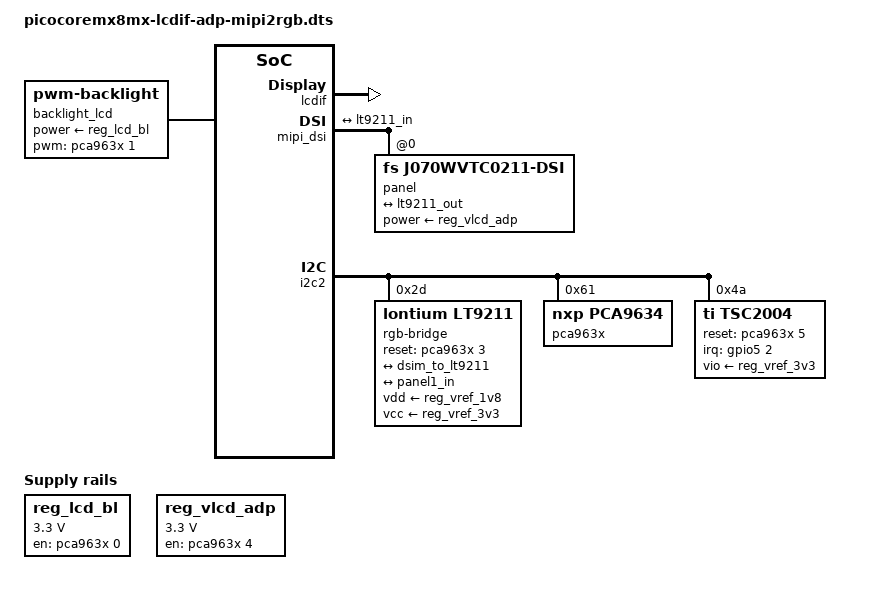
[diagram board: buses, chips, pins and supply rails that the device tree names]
/*
 * Copyright (C) 2021 F&S Elektronik Systeme GmbH
 *
 * This program is free software; you can redistribute it and/or modify
 * it under the terms of the GNU General Public License version 2 as
 * published by the Free Software Foundation.
 */

#define CONFIG_PICOCOREMX8MX_MIPI_DSI

#include "picocoremx8mx.dts"

/ {
	regulators {
		reg_lcd_bl: backlight_lcd {
			compatible = "regulator-fixed";
			regulator-name = "lcd-bl";
			gpio = <&pca963x 0 0>;
			regulator-min-microvolt = <3300000>;
			regulator-max-microvolt = <3300000>;
			enable-active-high;
		};

		/* LCD power on voltage */
		reg_vlcd_adp: vlcd_adp {
			compatible = "regulator-fixed";
			regulator-name = "VLCD-ADP";
			gpio = <&pca963x 4 0>;
			regulator-min-microvolt = <3300000>;
			regulator-max-microvolt = <3300000>;
			enable-active-high;
		};
	};

	backlight_lcd {
		compatible = "pwm-backlight";
		pwms = <&pca963x 1 640000 0>;
		power-supply = <&reg_lcd_bl>;
		brightness-levels = <0 1 5 10 18 28 41 56
				     73 92 113 137 163 192 222 255>;
		default-brightness-level = <14>;
	};
};

&lcdif {
	status = "okay";
	/* important to overwrite max-res otherwise DRM lcdif will fail to find a suitable connector */
	max-res = <4096>, <4096>;
};

&mipi_dsi {
	status = "okay";
	pref-rate = <27000>;
	clocks = <&clk IMX8MM_CLK_DSI_CORE>,
			 <&clk IMX8MM_CLK_DSI_PHY_REF>;
	clock-names = "cfg", "pll-ref";
	assigned-clocks = <&clk IMX8MM_CLK_DSI_CORE>,
				  <&clk IMX8MM_CLK_DSI_PHY_REF>;
	assigned-clock-parents = <&clk IMX8MM_SYS_PLL1_266M>,
					 <&clk IMX8MM_VIDEO_PLL1_OUT>;
	assigned-clock-rates = <266000000>, <27000000>;

	panel@0 {
		reg = <0>;
		compatible = "fs,j070wvtc0211-dsi"; /* one of panel-simple's
			 		          match strings */

		power-supply = <&reg_vlcd_adp>;

		dsi,flags = <0xB>; /* MIPI_DSI_MODE_VIDEO MIPI_DSI_MODE_VIDEO_BURST MIPI_DSI_MODE_VIDEO_AUTO_VERT */
		dsi,format = <0x0>; /* MIPI_DSI_FMT_RGB888 */
		dsi,lanes = <4>;

		bus-flags = <0x45>;
		refresh-rate = <60>;
		rotate = <0>;
		bus-format = <0x100a>;

		panel-width-mm = <154>;
		panel-height-mm = <85>;

		display-timings {
			native-mode = <&timing0>;

			timing0: jd_j070wvtc0211 {
				clock-frequency = <33260000>;
				hactive = <800>;
				vactive = <480>;
				hback-porch = <216>;
				hfront-porch = <10>;
				hsync-len = <28>;
				vback-porch = <35>;
				vfront-porch = <8>;
				vsync-len = <2>;
			};
		};

		port {
			panel1_in: endpoint {
				remote-endpoint = <&lt9211_out>;
			};
		};
	};

    port@2{
    	dsim_to_lt9211: endpoint {
        	remote-endpoint = <&lt9211_in>;
    	};
    };

};

&i2c2 {
    /* mipi to RGB controller  */
	rgb-bridge@2d {
		#address-cells = <1>;
		#size-cells = <0>;
      	compatible = "lontium,lt9211";
        reg = <0x2d>;
        reset-gpios = <&pca963x 3 GPIO_ACTIVE_HIGH>;
        vdd-supply = <&reg_vref_1v8>;
        vcc-supply = <&reg_vref_3v3>;

		port@1 {
			reg = <1>;
			lt9211_in: endpoint {
				remote-endpoint = <&dsim_to_lt9211>;
			};
		};

		port@2 {
			reg = <2>;
			lt9211_out: endpoint {
				remote-endpoint = <&panel1_in>;
			};
		};
    };

	pca963x: pca9634@61 {
			compatible = "nxp,pca9634";
			reg = <0x61>;
			nxp,totem-pole;
			#address-cells = <1>;
			#size-cells = <0>;
			#pwm-cells = <3>;
			#gpio-cells = <2>;
			led@0 {
				reg = <0>;
				label = "BL_ON";
				type = "GPIO";
				default-on;		/* or: keep-value */
				active-high;
			};
			led@1 {
				reg = <1>;
				label = "BL_PWM";
				type = "PWM";
				default-on;		/* or: keep-value */
				active-low;
			};
			led@2 {
				reg = <2>;
				label = "ROTATE";
				type = "GPIO";
				active-high;
			};
			led@3 {
				reg = <3>;
				label = "MIPI_RST";
				type = "GPIO";
				active-high;
				default-on;		/* or: keep-value */
			};
			led@4 {
				reg = <4>;
				label = "VLCD_ON";
				type = "GPIO";
				default-on;		/* or: keep-value */
				active-high;
			};
			led@5 {
				reg = <5>;
				label = "TOUCH_RST";
				type = "GPIO";
				active-high;
				default-on;		/* or: keep-value */
			};
			led@6 {
				reg = <6>;
				label = "6-unused";
				type = "LED";
				active-low;
			};
			led@7 {
				reg = <7>;
				label = "7-unused";
				type = "LED";
				active-low;
			};
		};

	tsc2004@4a {
		compatible = "ti,tsc2004";
		reg = <0x4a>;
		vio-supply = <&reg_vref_3v3>;
		reset-gpios = <&pca963x 5 GPIO_ACTIVE_HIGH>;
		interrupts-extended = <&gpio5 2 IRQ_TYPE_EDGE_FALLING>;

		touchscreen-fuzz-x = <4>;
		touchscreen-fuzz-y = <7>;
		touchscreen-fuzz-pressure = <20>;
		touchscreen-size-x = <4096>;
		touchscreen-size-y = <4096>;
		touchscreen-max-pressure = <2048>;
		touchscreen-inverted-y;
		ti,x-plate-ohms = <280>;
		//ti,esd-recovery-timeout-ms = <8000>;
	};
};

